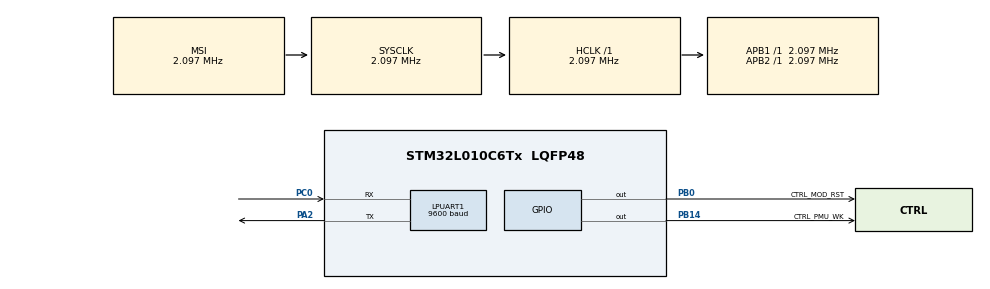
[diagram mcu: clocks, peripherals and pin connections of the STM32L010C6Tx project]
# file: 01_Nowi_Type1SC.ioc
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LPUART1.BaudRate=9600
LPUART1.WordLength=UART_WORDLENGTH_8B
Mcu.Family=STM32L0
Mcu.Name=STM32L010C6Tx
Mcu.Package=LQFP48
NVIC.LPUART1_IRQn=true\:0\:0\:false\:false\:true\:true\:true\:true
PA2.Mode=Asynchronous
PA2.Signal=LPUART1_TX
PB0.GPIO_Label=CTRL_MOD_RST
PB0.PinState=GPIO_PIN_RESET
PB0.Signal=GPIO_Output
PB14.GPIO_Label=CTRL_PMU_WK
PB14.PinState=GPIO_PIN_SET
PB14.Signal=GPIO_Output
PC0.Mode=Asynchronous
PC0.Signal=LPUART1_RX
ProjectManager.HeapSize=0x200
ProjectManager.StackSize=0x400
ProjectManager.TargetToolchain=STM32CubeIDE
RCC.AHBFreq_Value=2097000
RCC.APB1Freq_Value=2097000
RCC.APB1TimFreq_Value=2097000
RCC.APB2Freq_Value=2097000
RCC.APB2TimFreq_Value=2097000
RCC.HSE_VALUE=8000000
RCC.HSI16_VALUE=16000000
RCC.HSI_VALUE=16000000
RCC.MSI_VALUE=2097000
RCC.SYSCLKFreq_VALUE=2097000
RCC.VCOOutputFreq_Value=48000000
board=custom

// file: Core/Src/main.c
/* USER CODE BEGIN Header */
/**
  ******************************************************************************
  * @file           : main.c
  * @brief          : Main program body
  ******************************************************************************
  * @attention
  *
  * Copyright (c) 2023 STMicroelectronics.
  * All rights reserved.
  *
  * This software is licensed under terms that can be found in the LICENSE file
  * in the root directory of this software component.
  * If no LICENSE file comes with this software, it is provided AS-IS.
  *
  ******************************************************************************
  */
/* USER CODE END Header */
#include "main.h"
#include "usart.h"
#include "gpio.h"

/* USER CODE BEGIN Includes */
#include <stdlib.h>
#include <string.h>
/* USER CODE END Includes */

void SystemClock_Config(void);

/* USER CODE BEGIN 0 */
char Test[] = "AT\r\n"; 	//Test the GSM module, Attention
char echo[] = "ATE0\r\n";   //Disable the ECHO
char ati[] = "ati\r\n";   	//Get Modem FW information
char IP_Address[] = "AT+CGPADDR=1\r\n";   	//Get Modem FW information
char socket_cmd_allo[] = "AT%SOCKETCMD=\"ALLOCATE\",0,\"UDP\",\"OPEN\",\"20.61.15.37\",8891\r\n";
char socket_cmd_setop[] = "AT%SOCKETCMD=\"SETOP\",1,36000,1\r\n";
char socket_cmd_act[] ="AT%SOCKETCMD=\"ACTIVATE\",1\r\n";
//char payload[] = "XyCeJDw1asIy"+"\n"+"maker:4NKvHe7TVXsmq7VL7J"+"\n"+"{\"VBAT\":{\"value\":91},\"TEMP\":{\"value\":21}}";
//char socket_data[] = "AT%SOCKETDATA=\"SEND\",1,"+str(sizeof(payload));

uint8_t Tx_Delay = 10;
uint8_t Rx_Buffer[256] = " ";
uint8_t Rx_data = 0;
volatile uint8_t Rx_indx = 0;
uint8_t Rx_complete = 1;
uint32_t lastGetTick;
unsigned char state = 1;
/* USER CODE END 0 */

int main(void)
{

  /* MCU Configuration--------------------------------------------------------*/

  /* Reset of all peripherals, Initializes the Flash interface and the Systick. */
  HAL_Init();

  /* Configure the system clock */
  SystemClock_Config();

  /* Initialize all configured peripherals */
  MX_GPIO_Init();
  MX_LPUART1_UART_Init();
  /* USER CODE BEGIN 2 */

  HAL_GPIO_WritePin(CTRL_PMU_WK_GPIO_Port, CTRL_PMU_WK_Pin, GPIO_PIN_SET);
  HAL_Delay(100);

  if(HAL_UART_Receive_IT(&hlpuart1, &Rx_data, 1)!= HAL_OK)
  {
	  Error_Handler();
  }

  /* USER CODE END 2 */

  /* Infinite loop */
  while (1)
  {

    /* USER CODE BEGIN 3 */
	  switch (state)
	  {
	  	  case 1:
	  		  if((HAL_GetTick()-lastGetTick)>=1000)
	  		  {
	  			if (Rx_complete == 1)
				{
	  				memset(Rx_Buffer, 0, sizeof(Rx_Buffer));
	  				if(HAL_UART_Transmit(&hlpuart1, (uint8_t *)Test, strlen(Test), HAL_MAX_DELAY) != HAL_OK)
					{
	  					Error_Handler();
					}
					lastGetTick=HAL_GetTick();
					state = 2;
				}
	  		  }
	  		  break;
	  	  case 2:
	  		  if((HAL_GetTick()-lastGetTick)>=1000)
	  		  {
		  		if (Rx_complete == 1)
				{
		  			memset(Rx_Buffer, 0, sizeof(Rx_Buffer));
		  			if(HAL_UART_Transmit(&hlpuart1, (uint8_t *)ati, strlen(ati), HAL_MAX_DELAY) != HAL_OK)
		  			{
	  				  Error_Handler();
		  			}
		  			lastGetTick=HAL_GetTick();
		  			state = 3;
				}
	  		  }
	  		  break;
	  	  case 3:
	  		  if((HAL_GetTick()-lastGetTick)>=1000)
	  		  {
		  		if (Rx_complete == 1)
				{
		  			memset(Rx_Buffer, 0, sizeof(Rx_Buffer));
		  			if(HAL_UART_Transmit(&hlpuart1, (uint8_t *)IP_Address, strlen(IP_Address), HAL_MAX_DELAY) != HAL_OK)
		  			{
	  				  Error_Handler();
		  			}
		  			lastGetTick=HAL_GetTick();
		  			state = 4;
				}
	  		  }
	  		  break;
	  	  case 4:
	  		  if((HAL_GetTick()-lastGetTick)>=1000)
	  		  {
		  		if (Rx_complete == 1)
				{
		  			memset(Rx_Buffer, 0, sizeof(Rx_Buffer));
		  			if(HAL_UART_Transmit(&hlpuart1, (uint8_t *)socket_cmd_allo, strlen(socket_cmd_allo), HAL_MAX_DELAY) != HAL_OK)
		  			{
	  				  Error_Handler();
		  			}
		  			lastGetTick=HAL_GetTick();
		  			state = 5;
				}
	  		  }
	  		  break;
	  	  case 5:
	  		  if((HAL_GetTick()-lastGetTick)>=1000)
	  		  {
		  		if (Rx_complete == 1)
				{
		  			memset(Rx_Buffer, 0, sizeof(Rx_Buffer));
		  			if(HAL_UART_Transmit(&hlpuart1, (uint8_t *)socket_cmd_setop, strlen(socket_cmd_setop), HAL_MAX_DELAY) != HAL_OK)
		  			{
	  				  Error_Handler();
		  			}
		  			lastGetTick=HAL_GetTick();
		  			state = 1;
				}
	  		  }
	  		  break;
	  }
  }
  /* USER CODE END 3 */
}

void SystemClock_Config(void)
{
  RCC_OscInitTypeDef RCC_OscInitStruct = {0};
  RCC_ClkInitTypeDef RCC_ClkInitStruct = {0};
  RCC_PeriphCLKInitTypeDef PeriphClkInit = {0};

  /** Configure the main internal regulator output voltage
  */
  __HAL_PWR_VOLTAGESCALING_CONFIG(PWR_REGULATOR_VOLTAGE_SCALE1);

  /** Initializes the RCC Oscillators according to the specified parameters
  * in the RCC_OscInitTypeDef structure.
  */
  RCC_OscInitStruct.OscillatorType = RCC_OSCILLATORTYPE_MSI;
  RCC_OscInitStruct.MSIState = RCC_MSI_ON;
  RCC_OscInitStruct.MSICalibrationValue = 0;
  RCC_OscInitStruct.MSIClockRange = RCC_MSIRANGE_5;
  RCC_OscInitStruct.PLL.PLLState = RCC_PLL_NONE;
  if (HAL_RCC_OscConfig(&RCC_OscInitStruct) != HAL_OK)
  {
    Error_Handler();
  }

  /** Initializes the CPU, AHB and APB buses clocks
  */
  RCC_ClkInitStruct.ClockType = RCC_CLOCKTYPE_HCLK|RCC_CLOCKTYPE_SYSCLK
                              |RCC_CLOCKTYPE_PCLK1|RCC_CLOCKTYPE_PCLK2;
  RCC_ClkInitStruct.SYSCLKSource = RCC_SYSCLKSOURCE_MSI;
  RCC_ClkInitStruct.AHBCLKDivider = RCC_SYSCLK_DIV1;
  RCC_ClkInitStruct.APB1CLKDivider = RCC_HCLK_DIV1;
  RCC_ClkInitStruct.APB2CLKDivider = RCC_HCLK_DIV1;

  if (HAL_RCC_ClockConfig(&RCC_ClkInitStruct, FLASH_LATENCY_0) != HAL_OK)
  {
    Error_Handler();
  }
  PeriphClkInit.PeriphClockSelection = RCC_PERIPHCLK_LPUART1;
  PeriphClkInit.Lpuart1ClockSelection = RCC_LPUART1CLKSOURCE_PCLK1;
  if (HAL_RCCEx_PeriphCLKConfig(&PeriphClkInit) != HAL_OK)
  {
    Error_Handler();
  }
}

/* USER CODE BEGIN 4 */
void HAL_UART_RxCpltCallback(UART_HandleTypeDef *huart)
{
	if (huart->Instance == LPUART1)
	{
		Rx_complete = 0;
		Rx_Buffer[Rx_indx++] = Rx_data;
		if (Rx_indx + 1 > sizeof(Rx_Buffer))
		{
			Rx_indx = 0;
			Rx_complete = 1;
		}
		if (Rx_Buffer[Rx_indx-1] == 0x0a && Rx_Buffer[Rx_indx-2] == 0x0d && Rx_Buffer[Rx_indx-3] == 0x4b && Rx_Buffer[Rx_indx-4] == 0x4f)
		{
			Rx_indx = 0;
			Rx_complete = 1;
		}
		if (Rx_Buffer[Rx_indx-1] == 0x0a && Rx_Buffer[Rx_indx-2] == 0x0d && Rx_Buffer[Rx_indx-3] == 0x52 && Rx_Buffer[Rx_indx-4] == 0x4f && Rx_Buffer[Rx_indx-5] == 0x52 && Rx_Buffer[Rx_indx-6] == 0x52 && Rx_Buffer[Rx_indx-7] == 0x45)
		{
			Rx_indx = 0;
			Rx_complete = 1;
		}

		__HAL_UART_CLEAR_OREFLAG(huart); //clear the overrun flag
		__HAL_UART_SEND_REQ(huart, UART_RXDATA_FLUSH_REQUEST); // Discard the received data
		HAL_StatusTypeDef status = HAL_UART_Receive_IT(&hlpuart1, &Rx_data, 1); // Restart Receive
		if (status != HAL_OK)
		{
			__NOP(); // Only for setting breakpoint
		}
    }
}
void HAL_UART_TxCpltCallback(UART_HandleTypeDef *huart)
{
 __NOP();
}

void string2hexString(char* input, char* output)
{
    int loop;
    int i;

    i=0;
    loop=0;

    while(input[loop] != '\0')
    {
        //sprintf((char*)(output+i),"%02X", input[loop]);
        loop+=1;
        i+=2;
    }
    //insert NULL at the end of the output string
    output[i++] = '\0';
}

/* USER CODE END 4 */

void Error_Handler(void)
{
  __disable_irq();
  while (1)
  {
  }
}
